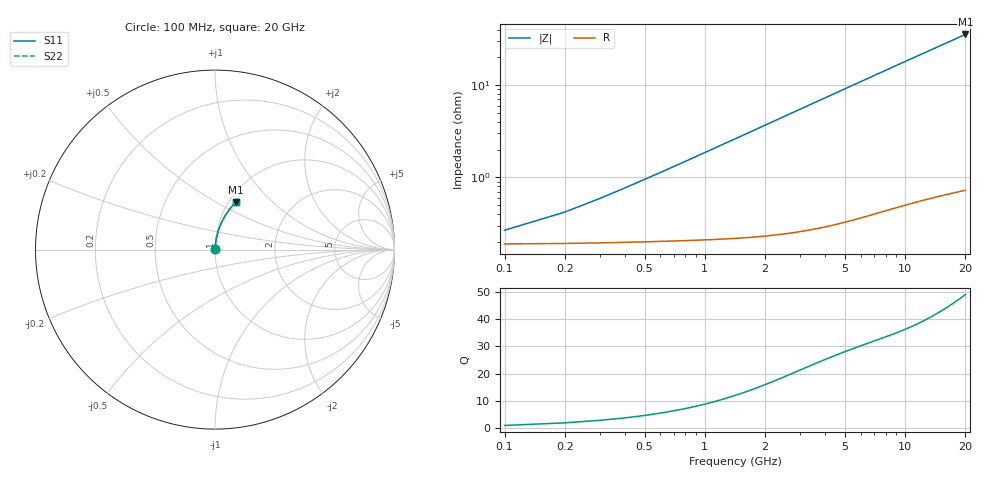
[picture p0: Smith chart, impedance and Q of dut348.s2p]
! Touchstone file exported from HFSS 2026.1.0
!  File:  C:/ffzhzh/LocalFiles/Ansys_Project_Files/temp_train_BSMRDL_348_1783011333_53980.aedt
!  Generated:  12:57:12 AM Jul  3, 2026
!  Design:  BSMRDL
!  Project:  temp_train_BSMRDL_348_1783011333_53980
! Variables:
!  h_bsmrdl = 4.54um
!  h_ox = 20um
!  h_rdl = 5um
!  h_sub = 80um
!  h_tmrdl = 5um
!  h_tsv = 80um
!  h_via = 3um
!  l_bsmrdl = 237.73um
!  l_sub = 637.73um
!  l_tmrdl = 200um
!  m_sub = 200um
!  pitch = 52.17um
!  r_tsv = 6um
!  s_tmrdl = 10um
!  w_bsmrdl = 10.26um
!  w_sub = 500um
!  w_tmrdl = 12um
!  x_tsv_center1 = 206um
!  x_tsv_center2 = 453.99um
!  x_tsv_center3 = 665.99um
!  x_tsv_center4 = 913.98um
!  x_tsv_center5 = 1125.98um
!  x_tsv_center6 = 1373.97um
# GHz S MA R 50.000000
! Terminal data exported
! Port[1] = BSM_RDL1_1_T1
! Port[2] = BSM_RDL1_1_T2
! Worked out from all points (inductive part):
!   200 points, 100 MHz to 20 GHz, reference 50 ohm
!   read as one part in series: L = 296 pH near 400 MHz
!   highest Q = 48.9 at 20 GHz (marker M1), where L = 282 pH
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0.1  0.002501 40.6  0.9981 -0.1  0.9981 -0.1  0.002501 40.6
! Gamma 0 0 0 0
! Port Impedance 50 0 50 0
0.2  0.003772 59.1  0.9981 -0.2  0.9981 -0.2  0.003772 59.1
0.3  0.005225 67.8  0.998 -0.4  0.998 -0.4  0.005226 67.8
0.4  0.006739 72.5  0.998 -0.5  0.998 -0.5  0.006739 72.5
0.5  0.008279 75.5  0.998 -0.6  0.998 -0.6  0.00828 75.5
0.6  0.009834 77.5  0.9979 -0.7  0.9979 -0.7  0.009835 77.5
0.8  0.01297 80.0  0.9978 -1.0  0.9978 -1.0  0.01297 80.0
1.1  0.0177 81.9  0.9977 -1.3  0.9977 -1.3  0.0177 81.9
1.5  0.02401 83.0  0.9975 -1.8  0.9975 -1.8  0.02401 83.0
1.8  0.02875 83.4  0.9973 -2.2  0.9973 -2.2  0.02875 83.4
2.1  0.03347 83.5  0.9971 -2.5  0.9971 -2.5  0.03347 83.5
2.7  0.04291 83.5  0.9966 -3.2  0.9966 -3.2  0.0429 83.5
3.5  0.05542 83.0  0.9957 -4.2  0.9957 -4.2  0.05542 83.0
4.2  0.06629 82.5  0.9948 -5.0  0.9948 -5.0  0.06629 82.4
5  0.07864 81.7  0.9937 -5.9  0.9937 -5.9  0.07864 81.7
5.9  0.09241 80.8  0.9922 -7.0  0.9922 -7.0  0.09241 80.8
6.8  0.1061 79.9  0.9905 -8.0  0.9905 -8.0  0.1061 79.9
8.3  0.1285 78.3  0.9873 -9.7  0.9873 -9.7  0.1285 78.3
10.1  0.155 76.4  0.983 -11.8  0.983 -11.8  0.155 76.4
13.4  0.2022 72.9  0.9736 -15.5  0.9736 -15.5  0.2022 72.9
16.7  0.2475 69.4  0.9625 -19.1  0.9625 -19.1  0.2475 69.4
20  0.2907 66.0  0.9499 -22.6  0.9499 -22.6  0.2907 66.0
